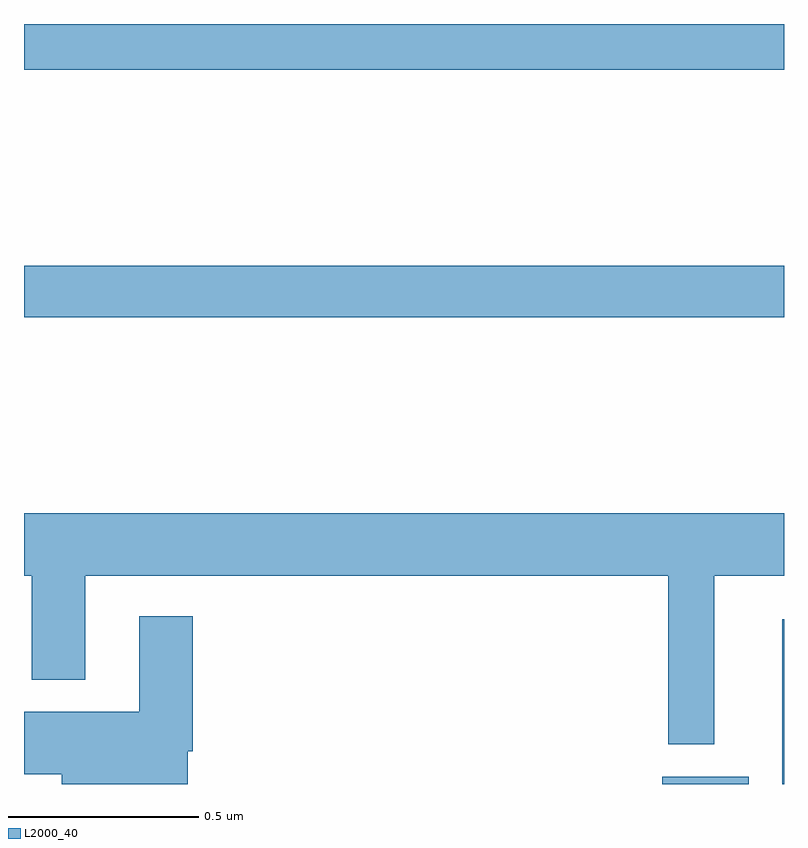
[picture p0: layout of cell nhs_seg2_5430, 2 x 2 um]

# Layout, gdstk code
import gdstk
lib = gdstk.Library(unit=1e-6, precision=1e-09)
def R(c, l, rs):  # rectangles x0, y0, x1, y1
    for r in rs: c.add(gdstk.rectangle(r[:2], r[2:], *l))
def P(c, l, *ps):  # polygons
    for p in ps: c.add(gdstk.Polygon(p, *l))
L2000_40 = (2000, 40)

nhs_seg2_5430 = lib.new_cell('nhs_seg2_5430')
R(nhs_seg2_5430, L2000_40, [(180.68,601.8,180.907,601.819), (180.995,601.8,181,602.233), (179,603.028,181,603.164), (179,603.68,181,603.8)])
P(nhs_seg2_5430, L2000_40, [(180.817,602.348),(181,602.348),(181,602.512),(179,602.512),(179,602.348),(179.021,602.348),(179.021,602.075),(179.161,602.075),(179.161,602.348),(180.696,602.348),(180.696,601.904),(180.817,601.904)],
  [(179.431,601.886),(179.444,601.886),(179.444,602.242),(179.303,602.242),(179.303,601.99),(179,601.99),(179,601.826),(179.099,601.826),(179.099,601.8),(179.431,601.8)])

lib.write_gds('nhs_seg2_5430.gds')
